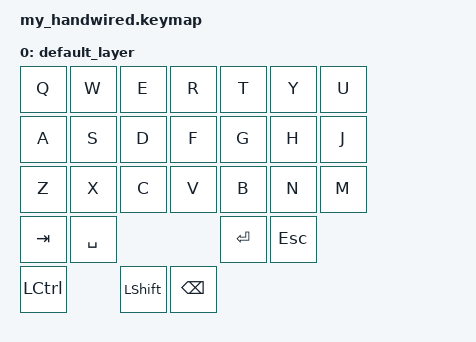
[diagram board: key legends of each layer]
/ {
    keymap {
        compatible = "zmk,keymap";

        default_layer {
            bindings = <
                &kp Q &kp W &kp E &kp R &kp T &kp Y &kp U
                &kp A &kp S &kp D &kp F &kp G &kp H &kp J
                &kp Z &kp X &kp C &kp V &kp B &kp N &kp M
                &kp TAB &kp SPACE &kp ENTER &kp ESC
                &kp LCTRL &kp LSHIFT &kp BSPC
            >;
        };
    };
};
